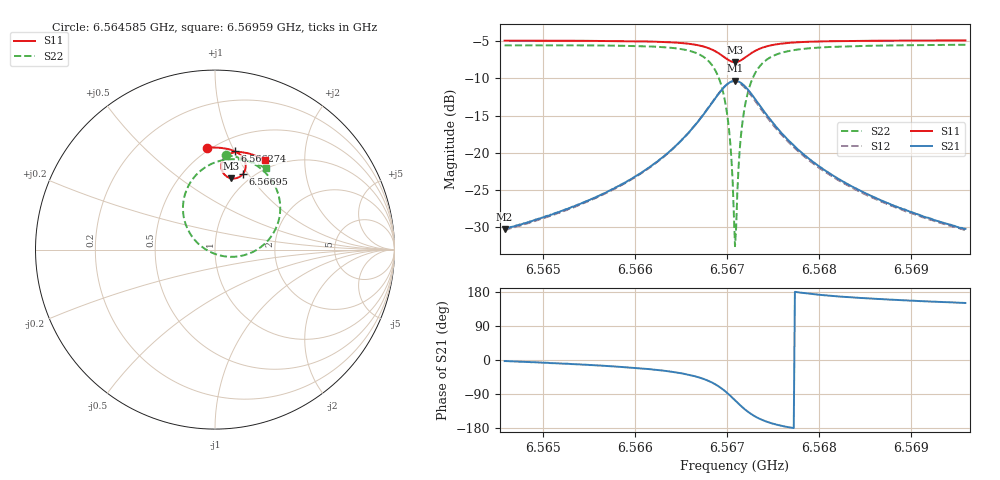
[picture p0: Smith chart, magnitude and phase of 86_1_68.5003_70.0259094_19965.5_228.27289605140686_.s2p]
#  HZ  S  RI  R  50.00
! Rohde & Schwarz Vector Network Analyzer
! Rohde-Schwarz,ZNB20-2Port,1311601062101988,3.16
! Created: UTC 3/20/2024, 4:52:21 PM
! freq[Hz]  re:S11  im:S11  re:S21  im:S21  re:S12  im:S12  re:S22  im:S22
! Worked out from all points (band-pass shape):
!   401 points, 6.564585 GHz to 6.56959 GHz, reference 50 ohm
!   highest |S21| = -10.31 dB at 6.567088 GHz (marker M1); lowest = -30.3 dB at 6.564585 GHz (marker M2)
!   |S21| within 3 dB of the highest: 6.566837 GHz to 6.567337 GHz (500.9 kHz wide, 0.00763 % of centre)
!   lowest |S11| = -7.8 dB at 6.567088 GHz (marker M3), VSWR 2.37, Z = 42.1 + j40.1 ohm
!   |S11| at or under -10 dB: nowhere
!   |S22| runs from -32.6 to -5.4 dB; largest |S21 - S12| = 0.015
!   S11 on the Smith chart (normalised r, x): 6.564585 GHz: 0.48, +0.80; 6.566274 GHz: 0.63, +1.00; 6.56695 GHz: 0.90, +0.95; 6.56959 GHz: 0.88, +1.30
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6.5645853e9  -0.0443 0.5677  0.0305 -0.00154  0.0299 -0.0019  0.0585 0.5257
6.5654236e9  0.0257 0.5674  0.0446 -0.00957  0.0439 -0.00995  0.1419 0.5094
6.5662618e9  0.1075 0.5489  0.0794 -0.04  0.0781 -0.0409  0.2629 0.445
6.5662743e9  0.1089 0.5483  0.0802 -0.0412  0.0789 -0.0421  0.2653 0.443
6.5665495e9  0.1427 0.5267  0.103 -0.0779  0.1014 -0.0795  0.3261 0.3703
6.5667497e9  0.1665 0.4914  0.1164 -0.14  0.1136 -0.143  0.363 0.25
6.5668623e9  0.1706 0.4563  0.1046 -0.2018  0.0991 -0.2059  0.3447 0.132
6.5669499e9  0.1563 0.4221  0.0627 -0.2603  0.0531 -0.2637  0.2669 0.0233
6.5669874e9  0.1426 0.4089  0.0308 -0.2818  0.019 -0.2838  0.2073 -0.0149
6.567025e9  0.124 0.3995  -0.0094 -0.296  -0.0227 -0.2951  0.1329 -0.0374
6.567075e9  0.0951 0.3964  -0.0703 -0.2963  -0.0842 -0.2909  0.0232 -0.0315
6.5670875e9  0.0875 0.3977  -0.0856 -0.2928  -0.0991 -0.286  -0.00349 -0.0231
6.5671e9  0.0803 0.3998  -0.1005 -0.2876  -0.1134 -0.2797  -0.029 -0.0117
6.5671125e9  0.0733 0.4028  -0.1146 -0.2809  -0.1269 -0.2719  -0.0531 0.00199
6.5671376e9  0.061 0.4106  -0.1402 -0.2642  -0.1508 -0.2532  -0.0958 0.0354
6.5671751e9  0.0465 0.426  -0.1698 -0.2323  -0.1773 -0.2197  -0.1427 0.0959
6.5672251e9  0.0364 0.4497  -0.1925 -0.1854  -0.1957 -0.1726  -0.174 0.181
6.5672877e9  0.0361 0.4772  -0.1984 -0.1319  -0.1979 -0.1208  -0.1748 0.2751
6.5675254e9  0.0762 0.5309  -0.1491 -0.027  -0.1456 -0.0224  -0.0647 0.4514
6.5679257e9  0.137 0.5436  -0.0868 0.00907  -0.0849 0.0104  0.0726 0.5024
6.568764e9  0.2187 0.5257  -0.0422 0.0157  -0.0412 0.0161  0.2048 0.4872
6.5695897e9  0.2813 0.497  -0.0266 0.0151  -0.0258 0.0151  0.2819 0.454
